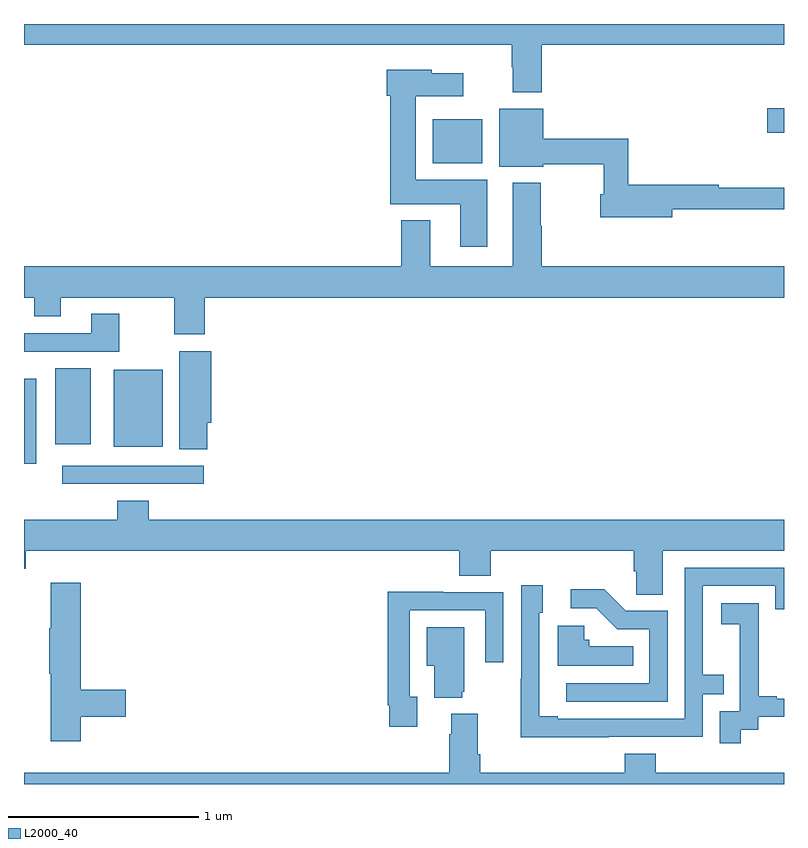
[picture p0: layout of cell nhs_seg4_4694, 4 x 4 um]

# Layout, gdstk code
import gdstk
lib = gdstk.Library(unit=1e-6, precision=1e-09)
def R(c, l, rs):  # rectangles x0, y0, x1, y1
    for r in rs: c.add(gdstk.rectangle(r[:2], r[2:], *l))
def P(c, l, *ps):  # polygons
    for p in ps: c.add(gdstk.Polygon(p, *l))
L2000_40 = (2000, 40)

nhs_seg4_4694 = lib.new_cell('nhs_seg4_4694')
R(nhs_seg4_4694, L2000_40, [(363.201,822.48,363.946,822.576), (363,822.585,363.064,823.033), (363.473,822.674,363.73,823.081), (363.164,822.689,363.352,823.087), (365.15,824.168,365.413,824.398), (366.912,824.327,367,824.457)])
P(nhs_seg4_4694, L2000_40, [(365.726,824.792),(367,824.792),(367,824.9),(363,824.9),(363,824.792),(365.566,824.792),(365.566,824.672),(365.573,824.672),(365.573,824.54),(365.726,824.54)],
  [(365.437,824.08),(365.062,824.08),(365.062,824.519),(365.311,824.519),(365.311,824.641),(365.145,824.641),(365.145,824.659),(364.91,824.659),(364.91,824.523),(364.928,824.523),(364.928,823.952),(365.297,823.952),(365.297,823.728),(365.437,823.728)],
  [(366.412,823.926),(367,823.926),(367,824.039),(366.656,824.039),(366.656,824.054),(366.179,824.054),(366.179,824.297),(365.734,824.297),(365.734,824.455),(365.501,824.455),(365.501,824.15),(365.734,824.15),(365.734,824.161),(366.051,824.161),(366.051,824.005),(366.032,824.005),(366.032,823.883),(366.412,823.883)],
  [(363.95,823.46),(367,823.46),(367,823.624),(365.726,823.624),(365.726,823.839),(365.721,823.839),(365.721,824.065),(365.573,824.065),(365.573,823.624),(365.137,823.624),(365.137,823.867),(364.985,823.867),(364.985,823.624),(363,823.624),(363,823.46),(363.053,823.46),(363.053,823.361),(363.193,823.361),(363.193,823.46),(363.79,823.46),(363.79,823.266),(363.95,823.266)],
  [(363.501,823.375),(363.353,823.375),(363.353,823.272),(363,823.272),(363,823.176),(363.501,823.176)],
  [(363.965,822.801),(363.986,822.801),(363.986,823.177),(363.818,823.177),(363.818,822.661),(363.965,822.661)],
  [(366.361,822.128),(367,822.128),(367,822.292),(363.656,822.292),(363.656,822.391),(363.491,822.391),(363.491,822.292),(363,822.292),(363,822.032),(363.008,822.032),(363.008,822.128),(365.291,822.128),(365.291,821.995),(365.456,821.995),(365.456,822.128),(366.209,822.128),(366.209,822.019),(366.222,822.019),(366.222,821.896),(366.361,821.896)],
  [(366.077,821.148),(366.573,821.148),(366.573,821.373),(366.683,821.373),(366.683,821.474),(366.573,821.474),(366.573,821.943),(366.954,821.943),(366.954,821.82),(367,821.82),(367,822.039),(366.477,822.039),(366.477,821.244),(365.809,821.244),(365.809,821.257),(365.712,821.257),(365.712,821.802),(365.731,821.802),(365.731,821.947),(365.616,821.947),(365.616,821.453),(365.614,821.453),(365.614,821.147),(366.077,821.147)],
  [(363.299,821.254),(363.535,821.254),(363.535,821.396),(363.299,821.396),(363.299,821.959),(363.14,821.959),(363.14,821.72),(363.133,821.72),(363.133,821.479),(363.14,821.479),(363.14,821.124),(363.299,821.124)],
  [(366.387,821.811),(366.168,821.811),(366.055,821.924),(365.877,821.924),(365.877,821.826),(366.011,821.826),(366.122,821.715),(366.291,821.715),(366.291,821.43),(365.853,821.43),(365.853,821.334),(366.387,821.334)],
  [(365.071,821.358),(365.031,821.358),(365.031,821.814),(365.427,821.814),(365.427,821.541),(365.523,821.541),(365.523,821.91),(365.207,821.91),(365.207,821.912),(364.915,821.912),(364.915,821.314),(364.923,821.314),(364.923,821.202),(365.071,821.202)],
  [(366.772,821.185),(366.864,821.185),(366.864,821.253),(367,821.253),(367,821.349),(366.961,821.349),(366.961,821.362),(366.866,821.362),(366.866,821.645),(366.867,821.645),(366.867,821.851),(366.669,821.851),(366.669,821.741),(366.767,821.741),(366.767,821.513),(366.768,821.513),(366.768,821.283),(366.663,821.283),(366.663,821.115),(366.772,821.115)],
  [(366.206,821.626),(365.976,821.626),(365.976,821.658),(365.949,821.658),(365.949,821.734),(365.81,821.734),(365.81,821.522),(366.206,821.522)],
  [(365.306,821.385),(365.317,821.385),(365.317,821.725),(365.12,821.725),(365.12,821.522),(365.159,821.522),(365.159,821.354),(365.306,821.354)],
  [(367,820.96),(366.326,820.96),(366.326,821.059),(366.161,821.059),(366.161,820.96),(365.402,820.96),(365.402,821.056),(365.389,821.056),(365.389,821.269),(365.249,821.269),(365.249,821.162),(365.237,821.162),(365.237,820.96),(363,820.96),(363,820.9),(367,820.9)])

lib.write_gds('nhs_seg4_4694.gds')
